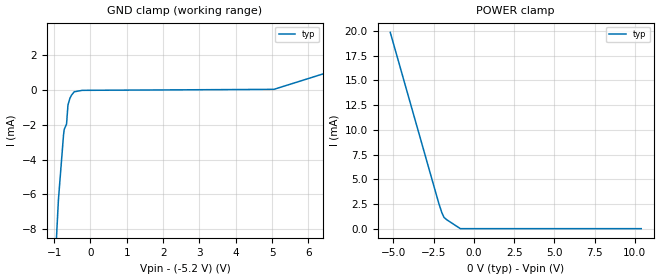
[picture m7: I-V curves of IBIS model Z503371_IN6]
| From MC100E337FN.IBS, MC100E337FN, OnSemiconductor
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| (C) COPYRIGHT 1993-2000
| MENTOR GRAPHICS CORPORATION
| ICX STANDARD LIBRARY, ICX PROJECT MODELING,
| ICX CUSTOM MODELING, ICX VENDOR MODEL
| ALL RIGHTS RESERVED.
| THE FOLLOWING ARE TRADEMARKS OR SERVICE MARKS OF
| MENTOR GRAPHICS CORPORATION:ICX (R), ICX STANDARD
| LIBRARY(R), ICX PROJECT MODELING(R), ICX CUSTOM
| MODELING(R), qualityIBIS(TM), MODELVIEWER(TM),
| AND MODELEDITOR(TM)
| ALL COPIES OF SOFTWARE, INCLUDING BUT NOT LIMITED TO
| ANY MODIFICATIONS, ENHANCEMENTS OR DERIVATIVE WORKS,
| MUST CONTAIN ALL MENTOR GRAPHICS CORPORATION'S
| NOTICES AND LEGENDS, INCLUDING THOSE EMBEDDED IN
| SOFTWARE AND THOSE AFFIXED TO SOFTWARE MEDIUM
| AND CONTAINER, AS RECEIVED FROM MENTOR GRAPHICS
| CORPORATION.
| Model Application Version 1.89 2/18/99.
[Model] Z503371_IN6
Model_type Input_ECL
Vinl = -1.475V
Vinh = -1.165V
C_comp 4.000pF NA NA
| variable typ   min   max
[Voltage Range] -5.200V NA NA
[GND Clamp Reference] -5.200V NA NA
[POWER Clamp Reference] 0.000V NA NA
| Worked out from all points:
|   GND clamp passes 1 mA (typ) near -0.62 V on its own axis
|   POWER clamp passes 1 mA (typ) near -1.76 V on its own axis
[GND Clamp]
-5.2V     -257.8mA   NA         NA
-1.067V   -13.89mA   NA         NA
-883mV    -6.312mA   NA         NA
-743mV    -2.604mA   NA         NA
-723mV    -2.266mA   NA         NA
-659mV    -1.958mA   NA         NA
-620mV    -859.8uA   NA         NA
-566mV    -473.8uA   NA         NA
-447mV    -102.1uA   NA         NA
-223.5mV  -19.78uA   NA         NA
5.05V     36.78uA    NA         NA
10.4V     3.546mA    NA         NA
[POWER Clamp]
-5.2V     19.85mA    NA         NA
-2.185V   2.569mA    NA         NA
-1.996V   1.63mA     NA         NA
-1.86V    1.139mA    NA         NA
-1.685V   898.7uA    NA         NA
-842.5mV  0A         NA         NA
10.4V     0A         NA         NA
